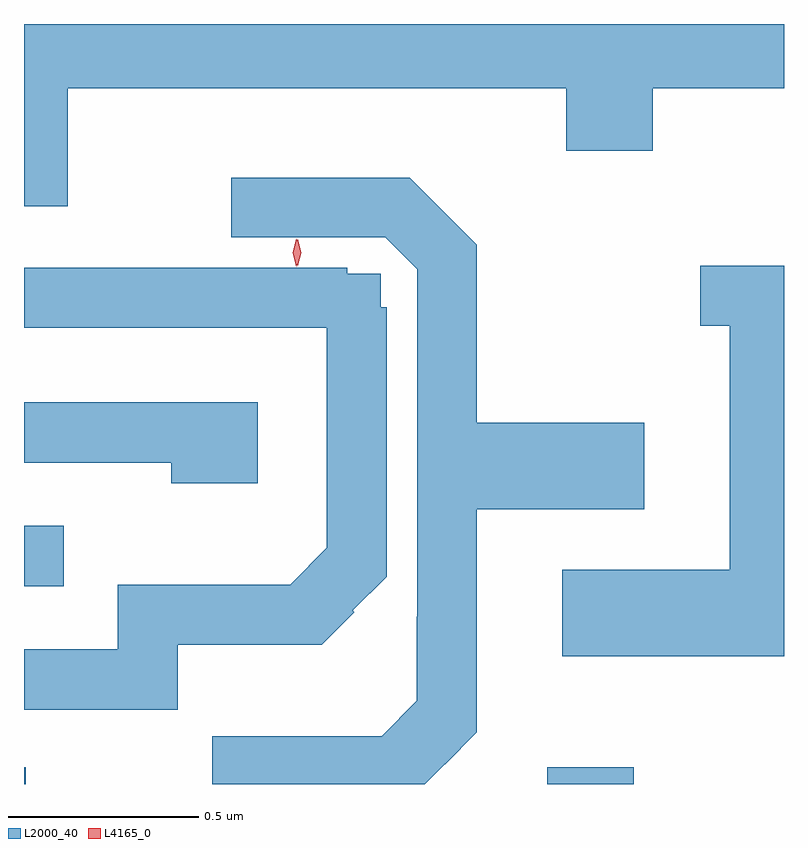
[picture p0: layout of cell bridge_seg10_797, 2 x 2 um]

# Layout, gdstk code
import gdstk
lib = gdstk.Library(unit=1e-6, precision=1e-09)
def R(c, l, rs):  # rectangles x0, y0, x1, y1
    for r in rs: c.add(gdstk.rectangle(r[:2], r[2:], *l))
def P(c, l, *ps):  # polygons
    for p in ps: c.add(gdstk.Polygon(p, *l))
L2000_40 = (2000, 40)
L4165_0 = (4165, 0)

bridge_seg10_797 = lib.new_cell('bridge_seg10_797')
R(bridge_seg10_797, L2000_40, [(602.144,2192.005,602.149,2192.049), (603.521,2192.005,603.749,2192.049), (602.144,2192.526,602.248,2192.684)])
P(bridge_seg10_797, L2000_40, [(602.259,2193.836),(603.571,2193.836),(603.571,2193.671),(603.799,2193.671),(603.799,2193.836),(604.144,2193.836),(604.144,2194.005),(602.144,2194.005),(602.144,2193.526),(602.259,2193.526)],
  [(603.252,2192.058),(603.252,2192.057),(603.336,2192.141),(603.336,2192.728),(603.776,2192.728),(603.776,2192.956),(603.336,2192.956),(603.336,2193.424),(603.159,2193.601),(602.69,2193.601),(602.69,2193.444),(603.095,2193.444),(603.179,2193.36),(603.179,2192.445),(603.178,2192.445),(603.178,2192.224),(603.086,2192.131),(602.64,2192.131),(602.64,2192.005),(603.199,2192.005)],
  [(604.144,2193.369),(603.923,2193.369),(603.923,2193.211),(604.001,2193.211),(604.001,2192.569),(603.561,2192.569),(603.561,2192.341),(604.144,2192.341)],
  [(602.549,2192.371),(602.927,2192.371),(603.013,2192.457),(603.009,2192.462),(603.098,2192.551),(603.098,2193.26),(603.083,2193.26),(603.083,2193.348),(602.995,2193.348),(602.995,2193.363),(602.602,2193.363),(602.602,2193.364),(602.144,2193.364),(602.144,2193.206),(602.941,2193.206),(602.941,2192.627),(602.844,2192.529),(602.391,2192.529),(602.391,2192.359),(602.144,2192.359),(602.144,2192.201),(602.549,2192.201)],
  [(602.759,2193.009),(602.144,2193.009),(602.144,2192.851),(602.531,2192.851),(602.531,2192.796),(602.759,2192.796)])
P(bridge_seg10_797, L4165_0, [(602.861,2193.366),(602.86,2193.367),(602.851,2193.403),(602.86,2193.44),(602.861,2193.44),(602.861,2193.44),(602.871,2193.403),(602.861,2193.367)],
  [(602.864,2193.368),(602.864,2193.369),(602.854,2193.403),(602.864,2193.438),(602.864,2193.438),(602.864,2193.438),(602.874,2193.403),(602.864,2193.369)])

lib.write_gds('bridge_seg10_797.gds')
